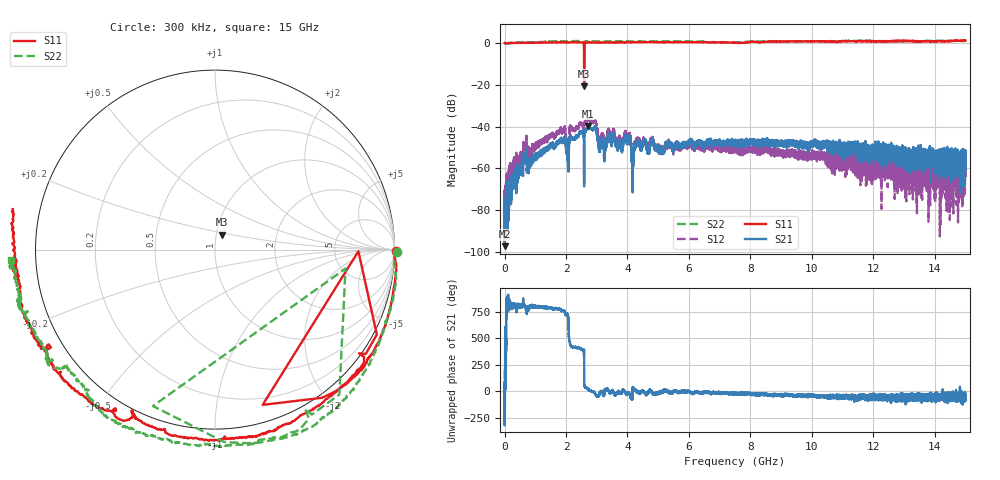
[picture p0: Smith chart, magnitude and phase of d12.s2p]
!Agilent Technologies,N5230C,SG49000117,A.08.50.07
!Agilent N5230C: A.08.50.07
!Date: Friday, May 17, 2024 07:51:04
!Correction: S11(Full 2 Port(1,2))
!S21(Full 2 Port(1,2))
!S12(Full 2 Port(1,2))
!S22(Full 2 Port(1,2))
!S2P File: Measurements: S11, S21, S12, S22:
# Hz S  MA  R 50
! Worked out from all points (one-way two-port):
!   20001 points, 300 kHz to 15 GHz, reference 50 ohm
!   highest |S21| = -39.66 dB at 2.705 GHz (marker M1); lowest = -97.4 dB at 9.3 MHz (marker M2)
!   lowest |S11| = -20.8 dB at 2.59 GHz (marker M3), VSWR 1.20, Z = 53 + j8.99 ohm
!   |S11| at or under -10 dB: 2.588621 GHz to 2.590779 GHz (2.158 MHz wide, 0.0833 % of centre)
!   |S22| runs from -11.8 to 1.2 dB; largest |S21 - S12| = 0.0088
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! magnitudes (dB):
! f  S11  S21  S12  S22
! 300 kHz  0.1  -81.4  -73.0  0.1
! 9.3 MHz  0.0  -97.4  -70.5  0.0
! 306.3 MHz  0.1  -64.4  -59.0  0.2
! 646.8 MHz  0.2  -55.1  -49.5  0.3
! 796.8 MHz  0.2  -58.4  -55.0  0.4
! 1.894 GHz  0.4  -46.2  -41.3  1.0
! 2.052 GHz  0.4  -54.5  -50.3  0.9
! 2.178 GHz  0.4  -45.6  -40.4  1.0
! 2.501 GHz  0.4  -42.2  -38.3  1.0
! 2.59 GHz  -20.8  -45.9  -45.3  -11.8
! 2.705 GHz  0.3  -39.7  -37.0  0.8
! 3.261 GHz  0.4  -52.3  -50.4  0.8
! 3.404 GHz  0.4  -44.4  -42.4  0.8
! 3.759 GHz  0.4  -47.9  -46.0  0.8
! 4.003 GHz  0.5  -47.5  -46.5  0.8
! 4.19 GHz  0.5  -53.8  -54.4  0.8
! 4.339 GHz  0.5  -46.8  -46.2  0.8
! 5 GHz  0.5  -52.6  -50.8  0.9
! 7.5 GHz  0.2  -48.4  -51.3  0.5
! 10 GHz  0.9  -48.7  -54.7  0.9
! 12.5 GHz  1.0  -49.1  -59.5  0.9
! 15 GHz  1.3  -58.1  -62.5  1.1
